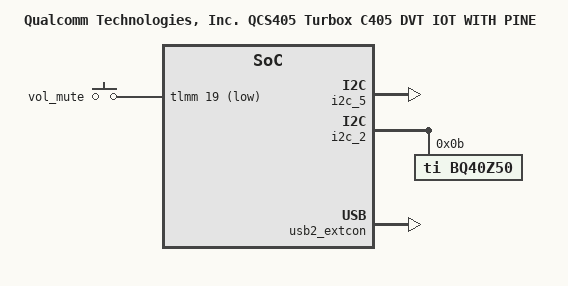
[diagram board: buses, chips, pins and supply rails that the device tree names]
/*
 * SPDX-License-Identifier: GPL-2.0-only
 * Copyright (c) 2022-2023 Qualcomm Innovation Center, Inc. All rights reserved.
 *
 */

/dts-v1/;

#include "qcs405.dtsi"
#include "qcs405-wsa-audio-overlay.dtsi"
#include "qcs405-circular-pca9956.dtsi"
#include "qcs405-charger.dtsi"

/ {
	model = "Qualcomm Technologies, Inc. QCS405 Turbox C405 DVT IOT WITH PINE";
	compatible = "qcom,qcs405-iot", "qcom,qcs405", "qcom,iot";
	qcom,board-id = <0x010020 6>;
};

&i2c_5 {
	status = "ok";
};

&i2c_2 {
	qcom,clk-freq-out = <100000>;
	status = "ok";

	bq40z50@B {
		compatible = "ti,bq40z50";
		reg = <0x0B>;
	};
};

&smp2p_sleepstate {
	status = "disabled";
};

&smb1351_otg_supply {
	status = "disabled";
};

&soc {
	gpio_keys {
		vol_mute {
			gpios = <&tlmm 19 GPIO_ACTIVE_LOW>;
		};
	};
};

&tlmm {
	evb_tlmm_gpio_key{
		tlmm_gpio_key_active: tlmm_gpio_key_active {
			mux {
				pins = "gpio19","gpio52","gpio54","gpio115";
			};

			config {
				pins = "gpio19","gpio52","gpio54","gpio115";
			};
		};

		tlmm_gpio_key_suspend: tlmm_gpio_key_suspend {
			mux {
				pins = "gpio19","gpio52","gpio54","gpio115";
			};

			config {
				pins = "gpio19","gpio52","gpio54","gpio115";
			};
		};
	};
};

&usb3 {
	qcom,charging-disabled;
	/delete-property/ extcon;
};

&usb3_extcon {
	/delete-property/ vbus-gpio;

	pinctrl-0 = <&usb3_id_det_default
		     &usb3_vbus_boost_default>;
};

&soc {
	usb2_extcon: usb2_extcon {
		compatible = "linux,extcon-usb-gpio";
		vbus-gpio = <&pms405_gpios 12 GPIO_ACTIVE_HIGH>;

		pinctrl-names = "default";
		pinctrl-0 = <&usb3_vbus_det_default>;
	};
};

&usb2s {
	extcon = <&usb2_extcon>;
};

&qcs405_snd {
	qcom,tasha-codec = <0>;
	qcom,wcn-btfm = <0>;
	qcom,model = "qcs404-wsa-rb1-snd-card";
};

&wcd9335 {
	status = "disabled";
};

&rpm_bus {
	rpm-regulator-ldoa7 {
		status = "okay";
		pms405_l7: regulator-l7 {
			regulator-min-microvolt = <1800000>;
			regulator-max-microvolt = <1800000>;
			qcom,init-voltage = <1800000>;
			regulator-always-on;
			status = "okay";
		};
	};
};

#include "qcs405-mdss-panels.dtsi"

&mdss_mdp {
	qcom,mdss-pref-prim-intf = "dsi";
};

&mdss_dsi {
	hw-config = "single_dsi";
};

&mdss_hdmi_tx {
	pinctrl-names = "hdmi_hpd_active", "hdmi_ddc_active", "hdmi_cec_active",
				"hdmi_active", "hdmi_sleep";
	pinctrl-0 = <&mdss_hdmi_5v_active  &mdss_hdmi_hpd_active
			&mdss_hdmi_ddc_suspend &mdss_hdmi_cec_suspend>;
	pinctrl-1 = <&mdss_hdmi_5v_active &mdss_hdmi_hpd_active
			&mdss_hdmi_ddc_active &mdss_hdmi_cec_suspend>;
	pinctrl-2 = <&mdss_hdmi_5v_active &mdss_hdmi_hpd_active
			&mdss_hdmi_cec_active &mdss_hdmi_ddc_suspend>;
	pinctrl-3 = <&mdss_hdmi_5v_active &mdss_hdmi_hpd_active
			&mdss_hdmi_ddc_active &mdss_hdmi_cec_active>;
	pinctrl-4 = <&mdss_hdmi_5v_suspend &mdss_hdmi_hpd_suspend
			&mdss_hdmi_ddc_suspend &mdss_hdmi_cec_suspend>;
	qcom,max-pclk-frequency-khz = <74250>;
};

&mdss_dsi0 {
	qcom,dsi-pref-prim-pan = <&dsi_ili9881c_720p_video>;
	pinctrl-names = "mdss_default", "mdss_sleep";
	pinctrl-0 = <&mdss_dsi_active &mdss_te_active>;
	pinctrl-1 = <&mdss_dsi_suspend &mdss_te_suspend>;

	qcom,platform-te-gpio = <&tlmm 41 0>;
	qcom,platform-reset-gpio = <&tlmm 39 0>;
};

&dsi_ili9881c_720p_video {
	qcom,panel-supply-entries = <&dsi_panel_pwr_supply>;
	qcom,mdss-dsi-bl-pmic-control-type = "bl_ctrl_dcs";
	qcom,mdss-dsi-bl-pmic-bank-select = <0>;
	qcom,mdss-dsi-bl-min-level = <1>;
	qcom,mdss-dsi-bl-max-level = <4095>;
	qcom,mdss-dsi-bl-inverted-dbv;
};

&mdss_rgb {
	status = "disabled";
};
